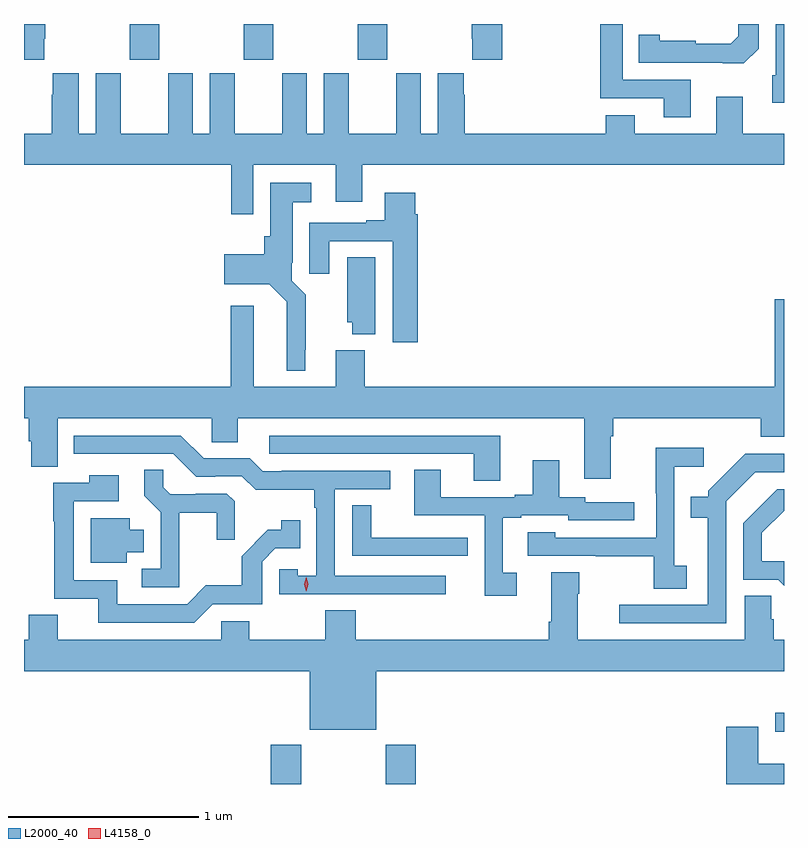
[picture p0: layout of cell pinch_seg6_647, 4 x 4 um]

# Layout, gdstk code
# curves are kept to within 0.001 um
import gdstk
lib = gdstk.Library(unit=1e-6, precision=1e-09)
def R(c, l, rs):  # rectangles x0, y0, x1, y1
    for r in rs: c.add(gdstk.rectangle(r[:2], r[2:], *l))
def A(c, l, x, y, w, h, nx, ny, dx, dy):  # array of equal rectangles
    R(c, l, [(x+i*dx, y+j*dy, x+i*dx+w, y+j*dy+h) for i in range(nx) for j in range(ny)])
def P(c, l, *ps):  # polygons
    for p in ps: c.add(gdstk.Polygon(p, *l))
L2000_40 = (2000, 40)
L4158_0 = (4158, 0)

pinch_seg6_647 = lib.new_cell('pinch_seg6_647')
A(pinch_seg6_647, L2000_40, 480.319, 939.897, 0.155, 0.189, 3, 1, 0.6, 0)
R(pinch_seg6_647, L2000_40, [(481.061,936.086,481.221,936.292), (481.666,936.086,481.826,936.292), (483.717,936.362,483.763,936.462)])
P(pinch_seg6_647, L2000_40, [(482.119,940.009),(482.123,940.009),(482.123,939.897),(482.279,939.897),(482.279,940.086),(482.119,940.086)],
  [(483.763,940.086),(483.72,940.086),(483.72,939.816),(483.701,939.816),(483.701,939.672),(483.763,939.672)],
  [(483.271,939.792),(482.913,939.792),(482.913,940.086),(482.797,940.086),(482.797,939.696),(483.131,939.696),(483.131,939.594),(483.271,939.594)],
  [(483.63,939.957),(483.63,940.086),(483.522,940.086),(483.522,940.021),(483.484,939.983),(483.299,939.983),(483.299,939.998),(483.109,939.998),(483.109,940.03),(482.998,940.03),(482.998,939.882),(483.44,939.882),(483.44,939.879),(483.551,939.879)],
  [(479.869,940.009),(479.874,940.009),(479.874,940.086),(479.763,940.086),(479.763,939.897),(479.869,939.897)],
  [(480.969,939.344),(481.403,939.344),(481.403,939.15),(481.543,939.15),(481.543,939.344),(483.763,939.344),(483.763,939.508),(483.547,939.508),(483.547,939.703),(483.407,939.703),(483.407,939.508),(482.977,939.508),(482.977,939.607),(482.825,939.607),(482.825,939.508),(482.084,939.508),(482.084,939.713),(482.077,939.713),(482.077,939.826),(481.94,939.826),(481.94,939.508),(481.852,939.508),(481.852,939.826),(481.721,939.826),(481.721,939.508),(481.471,939.508),(481.471,939.826),(481.34,939.826),(481.34,939.508),(481.252,939.508),(481.252,939.826),(481.121,939.826),(481.121,939.508),(480.871,939.508),(480.871,939.826),(480.74,939.826),(480.74,939.508),(480.652,939.508),(480.652,939.826),(480.521,939.826),(480.521,939.508),(480.271,939.508),(480.271,939.826),(480.14,939.826),(480.14,939.508),(480.052,939.508),(480.052,939.826),(479.915,939.826),(479.915,939.713),(479.909,939.713),(479.909,939.508),(479.763,939.508),(479.763,939.344),(480.853,939.344),(480.853,939.084),(480.969,939.084)],
  [(481.243,938.371),(481.247,938.371),(481.247,938.662),(481.173,938.736),(481.173,938.83),(481.177,938.83),(481.177,939.149),(481.276,939.149),(481.276,939.25),(481.058,939.25),(481.058,938.97),(481.028,938.97),(481.028,938.875),(480.816,938.875),(480.816,938.717),(481.053,938.717),(481.146,938.624),(481.145,938.261),(481.243,938.261)],
  [(481.835,939.086),(481.822,939.086),(481.822,939.199),(481.661,939.199),(481.661,939.052),(481.565,939.052),(481.565,939.039),(481.265,939.039),(481.265,938.772),(481.369,938.772),(481.369,938.943),(481.703,938.943),(481.703,938.412),(481.835,938.412)],
  [(481.612,938.858),(481.463,938.858),(481.463,938.517),(481.49,938.517),(481.49,938.453),(481.612,938.453)],
  [(482.851,937.916),(482.864,937.916),(482.864,938.012),(483.641,938.012),(483.641,937.913),(483.763,937.913),(483.763,938.638),(483.713,938.638),(483.713,938.176),(481.556,938.176),(481.556,938.368),(481.403,938.368),(481.403,938.176),(480.973,938.176),(480.973,938.602),(480.851,938.602),(480.851,938.176),(479.763,938.176),(479.763,938.012),(479.789,938.012),(479.789,937.89),(479.801,937.89),(479.801,937.756),(479.941,937.756),(479.941,938.012),(480.75,938.012),(480.75,937.885),(480.889,937.885),(480.889,938.012),(482.711,938.012),(482.711,937.692),(482.851,937.692)],
  [(481.984,937.182),(481.398,937.182),(481.398,937.638),(481.69,937.638),(481.69,937.734),(481.12,937.734),(481.12,937.731),(481.02,937.731),(480.951,937.8),(480.708,937.8),(480.588,937.92),(480.026,937.92),(480.026,937.824),(480.549,937.824),(480.669,937.704),(480.77,937.704),(480.77,937.707),(480.909,937.707),(480.982,937.634),(481.29,937.634),(481.29,937.541),(481.302,937.541),(481.302,937.183),(481.203,937.183),(481.203,937.215),(481.107,937.215),(481.107,937.086),(481.591,937.086),(481.591,937.084),(481.984,937.084)],
  [(482.269,937.92),(481.053,937.92),(481.053,937.824),(482.129,937.824),(482.129,937.681),(482.269,937.681)],
  [(483.25,937.236),(483.186,937.236),(483.186,937.757),(483.34,937.757),(483.34,937.855),(483.088,937.855),(483.088,937.616),(483.09,937.616),(483.09,937.383),(482.559,937.383),(482.559,937.411),(482.415,937.411),(482.415,937.287),(482.773,937.287),(482.773,937.285),(483.078,937.285),(483.078,937.114),(483.25,937.114)],
  [(483.459,937.575),(483.612,937.728),(483.763,937.728),(483.763,937.824),(483.558,937.824),(483.363,937.629),(483.363,937.597),(483.271,937.597),(483.271,937.488),(483.362,937.488),(483.362,937.029),(482.895,937.029),(482.895,936.933),(483.459,936.933)],
  [(482.356,937.197),(482.284,937.197),(482.284,937.488),(482.38,937.488),(482.38,937.5),(482.628,937.5),(482.628,937.473),(482.974,937.473),(482.974,937.569),(482.718,937.569),(482.718,937.596),(482.581,937.596),(482.581,937.789),(482.441,937.789),(482.441,937.609),(482.345,937.609),(482.345,937.596),(481.957,937.596),(481.957,937.739),(481.817,937.739),(481.817,937.5),(482.187,937.5),(482.187,937.077),(482.356,937.077)],
  [(480.581,937.514),(480.778,937.514),(480.778,937.371),(480.872,937.371),(480.872,937.573),(480.831,937.614),(480.666,937.614),(480.666,937.611),(480.532,937.611),(480.495,937.648),(480.495,937.739),(480.397,937.739),(480.397,937.603),(480.483,937.517),(480.483,937.218),(480.384,937.218),(480.384,937.122),(480.581,937.122)],
  [(480.756,937.032),(481.017,937.032),(481.017,937.257),(481.086,937.326),(481.217,937.326),(481.217,937.474),(481.116,937.474),(481.116,937.424),(481.046,937.424),(480.909,937.286),(480.909,937.131),(480.72,937.131),(480.621,937.032),(480.253,937.032),(480.253,937.158),(480.024,937.158),(480.024,937.575),(480.262,937.575),(480.262,937.711),(480.106,937.711),(480.106,937.671),(479.916,937.671),(479.916,937.468),(479.923,937.468),(479.923,937.062),(480.155,937.062),(480.155,936.936),(480.66,936.936)],
  [(483.763,937.258),(483.646,937.258),(483.646,937.408),(483.763,937.525),(483.763,937.638),(483.728,937.638),(483.549,937.459),(483.549,937.161),(483.732,937.161),(483.763,937.13)],
  [(482.098,937.382),(481.985,937.382),(481.985,937.383),(481.59,937.383),(481.59,937.553),(481.491,937.553),(481.491,937.287),(482.098,937.287)],
  [(480.304,937.307),(480.394,937.307),(480.394,937.423),(480.319,937.423),(480.319,937.486),(480.113,937.486),(480.113,937.25),(480.304,937.25)],
  [(481.618,936.68),(483.763,936.68),(483.763,936.844),(483.71,936.844),(483.71,936.954),(483.695,936.954),(483.695,937.076),(483.557,937.076),(483.557,936.844),(482.677,936.844),(482.677,937.088),(482.685,937.088),(482.685,937.201),(482.537,937.201),(482.537,936.94),(482.525,936.94),(482.525,936.844),(481.508,936.844),(481.508,937.001),(481.348,937.001),(481.348,936.844),(480.948,936.844),(480.948,936.942),(480.801,936.942),(480.801,936.844),(479.941,936.844),(479.941,936.977),(479.789,936.977),(479.789,936.844),(479.763,936.844),(479.763,936.68),(481.268,936.68),(481.268,936.371),(481.618,936.371)],
  [(483.763,936.193),(483.628,936.193),(483.628,936.388),(483.458,936.388),(483.458,936.086),(483.763,936.086)])
P(pinch_seg6_647, L4158_0, [(481.249,937.101),(481.249,937.101),(481.239,937.137),(481.249,937.173),(481.249,937.173),(481.249,937.173),(481.259,937.137),(481.249,937.101)])

lib.write_gds('pinch_seg6_647.gds')
